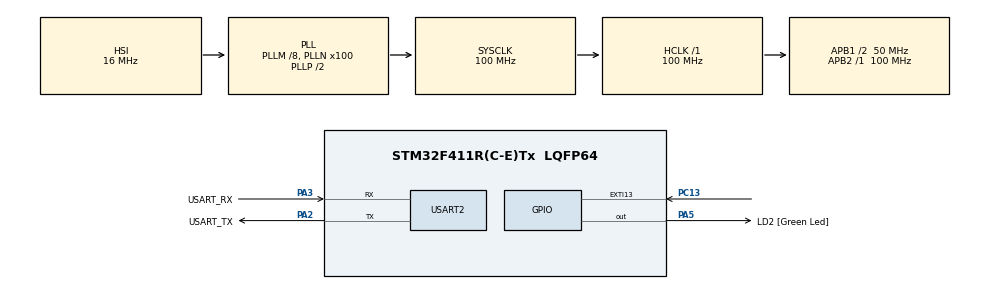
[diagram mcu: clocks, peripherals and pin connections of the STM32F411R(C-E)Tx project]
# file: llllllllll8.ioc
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Mcu.Family=STM32F4
Mcu.Name=STM32F411R(C-E)Tx
Mcu.Package=LQFP64
NVIC.PriorityGroup=NVIC_PRIORITYGROUP_0
NVIC.TIM1_TRG_COM_TIM11_IRQn=true\:0\:0\:false\:false\:true\:true\:true
NVIC.USART2_IRQn=true\:0\:0\:false\:false\:true\:true\:true
PA13.GPIO_Label=TMS
PA13.Mode=Serial_Wire
PA13.Signal=SYS_JTMS-SWDIO
PA14.GPIO_Label=TCK
PA14.Mode=Serial_Wire
PA14.Signal=SYS_JTCK-SWCLK
PA2.GPIO_Label=USART_TX
PA2.Mode=Asynchronous
PA2.Signal=USART2_TX
PA3.GPIO_Label=USART_RX
PA3.Mode=Asynchronous
PA3.Signal=USART2_RX
PA5.GPIO_Label=LD2 [Green Led]
PA5.Signal=GPIO_Output
PB3.GPIO_Label=SWO
PB3.Signal=SYS_JTDO-SWO
PC13-ANTI_TAMP.Signal=GPXTI13
PC14-OSC32_IN.Mode=LSE-External-Oscillator
PC14-OSC32_IN.Signal=RCC_OSC32_IN
PC15-OSC32_OUT.Mode=LSE-External-Oscillator
PC15-OSC32_OUT.Signal=RCC_OSC32_OUT
PH0\ -\ OSC_IN.Mode=HSE-External-Clock-Source
PH0\ -\ OSC_IN.Signal=RCC_OSC_IN
PH1\ -\ OSC_OUT.Mode=HSE-External-Clock-Source
PH1\ -\ OSC_OUT.Signal=RCC_OSC_OUT
ProjectManager.HeapSize=0x200
ProjectManager.StackSize=0x400
ProjectManager.TargetToolchain=STM32CubeIDE
RCC.48MHZClocksFreq_Value=50000000
RCC.AHBFreq_Value=100000000
RCC.APB1CLKDivider=RCC_HCLK_DIV2
RCC.APB1Freq_Value=50000000
RCC.APB1TimFreq_Value=100000000
RCC.APB2Freq_Value=100000000
RCC.APB2TimFreq_Value=100000000
RCC.CortexFreq_Value=100000000
RCC.FLatency-AdvancedSettings=FLASH_LATENCY_3
RCC.HCLKFreq_Value=100000000
RCC.HSE_VALUE=8000000
RCC.HSI_VALUE=16000000
RCC.PLLM=8
RCC.PLLN=100
RCC.SYSCLKFreq_VALUE=100000000
RCC.SYSCLKSource=RCC_SYSCLKSOURCE_PLLCLK
RCC.VCOOutputFreq_Value=200000000
TIM11.Prescaler=99
USART2.VirtualMode=VM_ASYNC
VP_TIM11_VS_ClockSourceINT.Mode=Enable_Timer
board=NUCLEO-F411RE

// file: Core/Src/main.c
/* USER CODE BEGIN Header */
/**
  ******************************************************************************
  * @file           : main.c
  * @brief          : Main program body
  ******************************************************************************
  * @attention
  *
  * <h2><center>&copy; Copyright (c) 2021 STMicroelectronics.
  * All rights reserved.</center></h2>
  *
  * This software component is licensed by ST under BSD 3-Clause license,
  * the "License"; You may not use this file except in compliance with the
  * License. You may obtain a copy of the License at:
  *                        opensource.org/licenses/BSD-3-Clause
  *
  ******************************************************************************
  */
/* USER CODE END Header */
#include "main.h"

TIM_HandleTypeDef htim11;

UART_HandleTypeDef huart2;

/* USER CODE BEGIN PV */
uint64_t _micros = 0;
char TxDataBuffer[32] = { 0 };
char RxDataBuffer[32] = { 0 };
char temp[100]={0};
char s[100]={0};
uint64_t frequency[]={0};
uint32_t STATE_Display = 0;
uint64_t Timestamp = 0;
int blink = 1;
int f = 1;
int b =0;
int count =0;
uint8_t buttonstatus[2]={0};
enum _StateDisplay
{
  StateDisplay_Start = 0,
  StateDisplay_MenuRoot_Print =10,
  StateDisplay_MenuRoot_WaitInput,
  StateDisplay_Menu1_Print =20,
  StateDisplay_Menu1_WaitInput,
  StateDisplay_Menu2_Print =30,
  StateDisplay_Menu2_WaitInput
};
/* USER CODE END PV */

void SystemClock_Config(void);
static void MX_GPIO_Init(void);
static void MX_USART2_UART_Init(void);
static void MX_TIM11_Init(void);
/* USER CODE BEGIN PFP */
void UARTRecieveAndResponsePolling();
int16_t UARTRecieveIT();
uint64_t micros();
/* USER CODE END PFP */

int main(void)
{

  /* MCU Configuration--------------------------------------------------------*/

  /* Reset of all peripherals, Initializes the Flash interface and the Systick. */
  HAL_Init();

  /* Configure the system clock */
  SystemClock_Config();

  /* Initialize all configured peripherals */
  MX_GPIO_Init();
  MX_USART2_UART_Init();
  MX_TIM11_Init();
  /* USER CODE BEGIN 2 */
  HAL_TIM_Base_Start_IT(&htim11);
  {
   sprintf(temp,"%d\r\n",f);
//   char temp[]="HELLO WORLD\r\n please type something to test UART\r\n";
   HAL_UART_Transmit(&huart2, (uint8_t*)temp, strlen(temp),100);
   }
  /* USER CODE END 2 */

  /* Infinite loop */
  /* USER CODE BEGIN WHILE */
  while (1)
  {
	  UARTRecieveAndResponsePolling();
	  buttonstatus[0]=HAL_GPIO_ReadPin(GPIOC, GPIO_PIN_13);
	  		/*Method 2 Interrupt Mode*/
	  HAL_UART_Receive_IT(&huart2,  (uint8_t*)RxDataBuffer, 32);

	  		/*Method 2 W/ 1 Char Received*/
	  int16_t inputchar  = UARTRecieveIT();
	  if(inputchar!=-1)
	  {
          //sprintf(TxDataBuffer, "ReceivedChar:[%c]\r\n", inputchar);
		  HAL_UART_Transmit(&huart2, (uint8_t*)TxDataBuffer, strlen(TxDataBuffer), 1000);
      }
	  switch (STATE_Display)
	  {
		  case StateDisplay_Start:
			  STATE_Display = StateDisplay_MenuRoot_Print;
			  break;
		  case StateDisplay_MenuRoot_Print: //display one time state
		  {
			  char temp[]="------------\r\n   Menu   \r\n------------\r\n1.Menu 1 LED control\r\n2.Menu 2\r\n\r\n";
			  HAL_UART_Transmit(&huart2, (uint16_t*)temp, strlen(temp),1000);
			  STATE_Display = StateDisplay_MenuRoot_WaitInput;
			  break;
		  }
		  case StateDisplay_MenuRoot_WaitInput: //wait state for input
			  switch (inputchar)
			  {
				  case -1:
					//no input ; just wait input
					break;
				  case '1':
				  {

					STATE_Display = StateDisplay_Menu1_Print;
					break;
				  }
				  case '2':
					STATE_Display = StateDisplay_Menu2_Print;
					break;
				  default: // actully error , you can add error message
				  {
					char temp[]="////////////Wrong Input////////////\r\n";
					HAL_UART_Transmit(&huart2, (uint8_t*)temp, strlen(temp),1000);
					STATE_Display = StateDisplay_MenuRoot_Print;
					break;
				  }
			  }
			  break;
			  case StateDisplay_Menu1_Print: //display one time state
			  {
				  char temp[]="------------------------\r\n"
						      "            Menu1   \r\n"
						      "------------------------\r\n"
						      "1.a increase frequency(+1)\r\n"
							  "2.s decrease frequency(-1)\r\n"
							  "3.d On/Off LED\r\n"
							  "4.x back to main menu\r\n";
				  HAL_UART_Transmit(&huart2, (uint8_t*)temp, strlen(temp),1000);
			      STATE_Display = StateDisplay_Menu1_WaitInput;
			      break;
			  }
			  case StateDisplay_Menu1_WaitInput:
				  switch (inputchar)
				  {
					  case -1:
						//no input ; just wait input
						break;
					  case 'a':
					  {
						f+=1;
						sprintf(s, "Curent frequency:[%d]\r\n", f);
						HAL_UART_Transmit(&huart2, (uint8_t*)s, strlen(s),1000);
						inputchar = ' ';
						STATE_Display = StateDisplay_Menu1_Print;
						break;
					  }
					  case 's':
					  {
						f-=1;
						if(f<0)
						{
							f = 0;
						}
						sprintf(s, "Curent frequency:[%d]\r\n", f);
						HAL_UART_Transmit(&huart2, (uint8_t*)s, strlen(s),1000);
						STATE_Display = StateDisplay_Menu1_Print;
						break;
					  }
					  case 'd':

						STATE_Display = StateDisplay_Menu1_Print;
						if(blink==1)
						{
							blink=0;
							sprintf(s, "     LED OFF\r\n", f);
							HAL_UART_Transmit(&huart2, (uint8_t*)s, strlen(s),1000);
							break;
						}
						if(blink==0)
						{
							blink=1;
							sprintf(s, "     LED ON\r\n", f);
							HAL_UART_Transmit(&huart2, (uint8_t*)s, strlen(s),1000);
							break;
						}
					  case 'x': // back to main manu(10)
						STATE_Display = StateDisplay_MenuRoot_Print;
						break;
					  default: // actully error , you can add error message
					  {
						STATE_Display = StateDisplay_Menu1_Print;
						char temp[]="////////////Wrong Input////////////\r\n";
						HAL_UART_Transmit(&huart2, (uint8_t*)temp, strlen(temp),1000);
						break;
					  }
				  }
				  break;
			  case StateDisplay_Menu2_Print: //display state
			  {
				  char temp[]="************\r\nMenu 2\r\n************\r\nx.back to main menu\r\n";
				  HAL_UART_Transmit(&huart2, (uint8_t*)temp, strlen(temp),1000);
				  STATE_Display = StateDisplay_Menu2_WaitInput;
				  break;
			  }
			  case StateDisplay_Menu2_WaitInput: //make decision state
			  {
				  b = 1;
				  switch(inputchar)
				  {
				     case 'x':
					    STATE_Display = StateDisplay_MenuRoot_Print;
					 	break;
				     case -1:
				    	break;
				     default: // actully error , you can add error message
					 {
						STATE_Display = StateDisplay_Menu2_Print;
						char temp[]="////////////Wrong Input////////////\r\n";
						HAL_UART_Transmit(&huart2, (uint8_t*)temp, strlen(temp),1000);
						break;
					 }
				  }
			  }
		      break;
	    }
		/*This section just simmulate Work Load*/
	if(f>0)
	{
		if(blink == 1 )
		{
			HAL_Delay(500/f);
			HAL_GPIO_TogglePin(GPIOA, GPIO_PIN_5);
		}
	}
	if(STATE_Display == 31)
	{
		if(buttonstatus[0]==0 && buttonstatus[1]==1)
		{
			char temp[]="\r\n\r\nButton Status: Press\r\n";
			HAL_UART_Transmit(&huart2, (uint8_t*)temp, strlen(temp),1000);
			STATE_Display=30;
		}
		else if(buttonstatus[0]==1 && buttonstatus[1]==0)
		{
			char temp[]="\r\n\r\nButton Status: Unpress\r\n";
			HAL_UART_Transmit(&huart2, (uint8_t*)temp, strlen(temp),1000);
			STATE_Display=30;
		}
	}
	if(blink == 0 || f <= 0)
	{
		HAL_GPIO_WritePin(GPIOA, GPIO_PIN_5, 0);
	}
    buttonstatus[1]=buttonstatus[0];
    /* USER CODE END WHILE */

  }
}

void SystemClock_Config(void)
{
  RCC_OscInitTypeDef RCC_OscInitStruct = {0};
  RCC_ClkInitTypeDef RCC_ClkInitStruct = {0};

  /** Configure the main internal regulator output voltage
  */
  __HAL_RCC_PWR_CLK_ENABLE();
  __HAL_PWR_VOLTAGESCALING_CONFIG(PWR_REGULATOR_VOLTAGE_SCALE1);
  /** Initializes the RCC Oscillators according to the specified parameters
  * in the RCC_OscInitTypeDef structure.
  */
  RCC_OscInitStruct.OscillatorType = RCC_OSCILLATORTYPE_HSI;
  RCC_OscInitStruct.HSIState = RCC_HSI_ON;
  RCC_OscInitStruct.HSICalibrationValue = RCC_HSICALIBRATION_DEFAULT;
  RCC_OscInitStruct.PLL.PLLState = RCC_PLL_ON;
  RCC_OscInitStruct.PLL.PLLSource = RCC_PLLSOURCE_HSI;
  RCC_OscInitStruct.PLL.PLLM = 8;
  RCC_OscInitStruct.PLL.PLLN = 100;
  RCC_OscInitStruct.PLL.PLLP = RCC_PLLP_DIV2;
  RCC_OscInitStruct.PLL.PLLQ = 4;
  if (HAL_RCC_OscConfig(&RCC_OscInitStruct) != HAL_OK)
  {
    Error_Handler();
  }
  /** Initializes the CPU, AHB and APB buses clocks
  */
  RCC_ClkInitStruct.ClockType = RCC_CLOCKTYPE_HCLK|RCC_CLOCKTYPE_SYSCLK
                              |RCC_CLOCKTYPE_PCLK1|RCC_CLOCKTYPE_PCLK2;
  RCC_ClkInitStruct.SYSCLKSource = RCC_SYSCLKSOURCE_PLLCLK;
  RCC_ClkInitStruct.AHBCLKDivider = RCC_SYSCLK_DIV1;
  RCC_ClkInitStruct.APB1CLKDivider = RCC_HCLK_DIV2;
  RCC_ClkInitStruct.APB2CLKDivider = RCC_HCLK_DIV1;

  if (HAL_RCC_ClockConfig(&RCC_ClkInitStruct, FLASH_LATENCY_3) != HAL_OK)
  {
    Error_Handler();
  }
}

static void MX_TIM11_Init(void)
{

  htim11.Instance = TIM11;
  htim11.Init.Prescaler = 99;
  htim11.Init.CounterMode = TIM_COUNTERMODE_UP;
  htim11.Init.Period = 65535;
  htim11.Init.ClockDivision = TIM_CLOCKDIVISION_DIV1;
  htim11.Init.AutoReloadPreload = TIM_AUTORELOAD_PRELOAD_DISABLE;
  if (HAL_TIM_Base_Init(&htim11) != HAL_OK)
  {
    Error_Handler();
  }

}

static void MX_USART2_UART_Init(void)
{

  huart2.Instance = USART2;
  huart2.Init.BaudRate = 115200;
  huart2.Init.WordLength = UART_WORDLENGTH_8B;
  huart2.Init.StopBits = UART_STOPBITS_1;
  huart2.Init.Parity = UART_PARITY_NONE;
  huart2.Init.Mode = UART_MODE_TX_RX;
  huart2.Init.HwFlowCtl = UART_HWCONTROL_NONE;
  huart2.Init.OverSampling = UART_OVERSAMPLING_16;
  if (HAL_UART_Init(&huart2) != HAL_OK)
  {
    Error_Handler();
  }

}

static void MX_GPIO_Init(void)
{
  GPIO_InitTypeDef GPIO_InitStruct = {0};

  /* GPIO Ports Clock Enable */
  __HAL_RCC_GPIOC_CLK_ENABLE();
  __HAL_RCC_GPIOH_CLK_ENABLE();
  __HAL_RCC_GPIOA_CLK_ENABLE();
  __HAL_RCC_GPIOB_CLK_ENABLE();

  /*Configure GPIO pin Output Level */
  HAL_GPIO_WritePin(LD2_GPIO_Port, LD2_Pin, GPIO_PIN_RESET);

  /*Configure GPIO pin : PC13 */
  GPIO_InitStruct.Pin = GPIO_PIN_13;
  GPIO_InitStruct.Mode = GPIO_MODE_IT_RISING;
  GPIO_InitStruct.Pull = GPIO_NOPULL;
  HAL_GPIO_Init(GPIOC, &GPIO_InitStruct);

  /*Configure GPIO pin : LD2_Pin */
  GPIO_InitStruct.Pin = LD2_Pin;
  GPIO_InitStruct.Mode = GPIO_MODE_OUTPUT_PP;
  GPIO_InitStruct.Pull = GPIO_NOPULL;
  GPIO_InitStruct.Speed = GPIO_SPEED_FREQ_LOW;
  HAL_GPIO_Init(LD2_GPIO_Port, &GPIO_InitStruct);

}

/* USER CODE BEGIN 4 */
void UARTRecieveAndResponsePolling()
{
	char Recieve[32]={0};

	HAL_UART_Receive(&huart2, (uint8_t*)Recieve, 32, 1000);

	//sprintf(TxDataBuffer, "Received:[%s]\r\n", Recieve);
	HAL_UART_Transmit(&huart2, (uint8_t*)TxDataBuffer, strlen(TxDataBuffer), 1000);

}

int16_t UARTRecieveIT()
{
	static uint32_t dataPos =0;
	int16_t data=-1;
	if(huart2.RxXferSize - huart2.RxXferCount!=dataPos)
	{
		data=RxDataBuffer[dataPos];
		dataPos= (dataPos+1)%huart2.RxXferSize;
	}
	return data;
}

void HAL_UART_RxCpltCallback(UART_HandleTypeDef *huart)
{
	//sprintf(TxDataBuffer, "Received:[%s]\r\n", RxDataBuffer);
	HAL_UART_Transmit(&huart2, (uint8_t*)TxDataBuffer, strlen(TxDataBuffer), 1000);
}
void HAL_TIM_PeriodElapsedCallback(TIM_HandleTypeDef *htim) {
	if (htim == &htim11) {
		_micros += 65535;
	}
}
uint64_t micros() {
	return _micros + htim11.Instance->CNT;
}
/* USER CODE END 4 */

void Error_Handler(void)
{
  __disable_irq();
  while (1)
  {
  }
}

/************************ (C) COPYRIGHT STMicroelectronics *****END OF FILE****/
